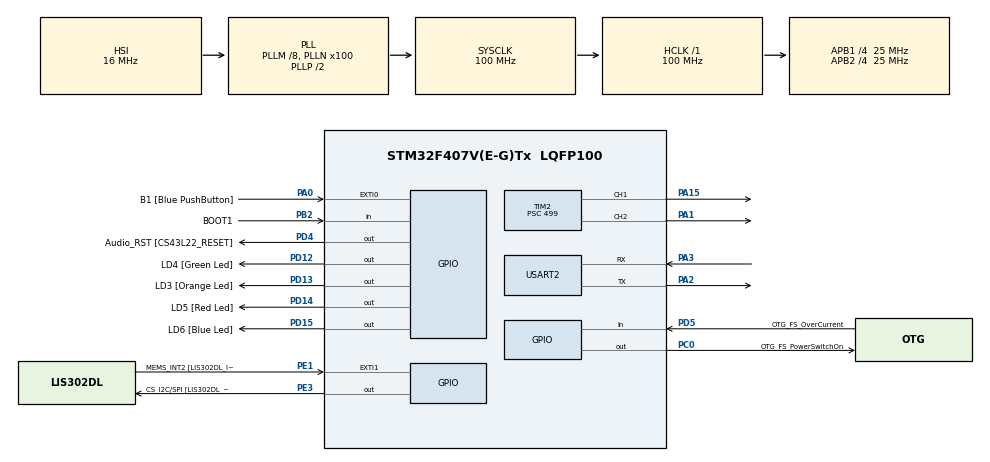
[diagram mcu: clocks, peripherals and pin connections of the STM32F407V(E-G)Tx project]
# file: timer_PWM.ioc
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Mcu.Family=STM32F4
Mcu.Name=STM32F407V(E-G)Tx
Mcu.Package=LQFP100
NVIC.PriorityGroup=NVIC_PRIORITYGROUP_0
NVIC.USART2_IRQn=true\:0\:0\:false\:false\:true\:true\:true\:true
PA0-WKUP.GPIO_Label=B1 [Blue PushButton]
PA0-WKUP.Signal=GPXTI0
PA1.Signal=S_TIM2_CH2
PA10.GPIO_Label=OTG_FS_ID
PA10.GPIO_Mode=GPIO_MODE_AF_PP
PA10.GPIO_PuPd=GPIO_NOPULL
PA10.GPIO_Speed=GPIO_SPEED_FREQ_LOW
PA10.Signal=USB_OTG_FS_ID
PA11.GPIO_Label=OTG_FS_DM
PA11.GPIO_Mode=GPIO_MODE_AF_PP
PA11.GPIO_PuPd=GPIO_NOPULL
PA11.GPIO_Speed=GPIO_SPEED_FREQ_LOW
PA11.Signal=USB_OTG_FS_DM
PA12.GPIO_Label=OTG_FS_DP
PA12.GPIO_Mode=GPIO_MODE_AF_PP
PA12.GPIO_PuPd=GPIO_NOPULL
PA12.GPIO_Speed=GPIO_SPEED_FREQ_LOW
PA12.Signal=USB_OTG_FS_DP
PA13.GPIO_Label=SWDIO
PA13.Signal=SYS_JTMS-SWDIO
PA14.GPIO_Label=SWCLK
PA14.Signal=SYS_JTCK-SWCLK
PA15.Signal=S_TIM2_CH1_ETR
PA2.Mode=Asynchronous
PA2.Signal=USART2_TX
PA3.Mode=Asynchronous
PA3.Signal=USART2_RX
PA4.GPIO_Label=I2S3_WS [CS43L22_LRCK]
PA4.GPIO_Mode=GPIO_MODE_AF_PP
PA4.GPIO_PuPd=GPIO_NOPULL
PA4.GPIO_Speed=GPIO_SPEED_FREQ_LOW
PA4.Signal=I2S3_WS
PA5.GPIO_Label=SPI1_SCK [LIS302DL_SCL/SPC]
PA5.GPIO_Mode=GPIO_MODE_AF_PP
PA5.GPIO_PuPd=GPIO_NOPULL
PA5.GPIO_Speed=GPIO_SPEED_FREQ_LOW
PA5.Signal=SPI1_SCK
PA6.GPIO_Label=SPI1_MISO [LIS302DL_SDO]
PA6.GPIO_Mode=GPIO_MODE_AF_PP
PA6.GPIO_PuPd=GPIO_NOPULL
PA6.GPIO_Speed=GPIO_SPEED_FREQ_LOW
PA6.Signal=SPI1_MISO
PA7.GPIO_Label=SPI1_MOSI [LIS302DL_SDA/SDI/SDO]
PA7.GPIO_Mode=GPIO_MODE_AF_PP
PA7.GPIO_PuPd=GPIO_NOPULL
PA7.GPIO_Speed=GPIO_SPEED_FREQ_LOW
PA7.Signal=SPI1_MOSI
PA9.GPIO_Label=VBUS_FS
PA9.GPIO_Mode=GPIO_MODE_INPUT
PA9.GPIO_PuPd=GPIO_NOPULL
PA9.Signal=USB_OTG_FS_VBUS
PB10.GPIO_Label=CLK_IN [MP45DT02_CLK]
PB10.GPIO_Mode=GPIO_MODE_AF_PP
PB10.GPIO_PuPd=GPIO_NOPULL
PB10.GPIO_Speed=GPIO_SPEED_FREQ_LOW
PB10.Signal=I2S2_CK
PB2.GPIO_Label=BOOT1
PB2.GPIO_Mode=GPIO_MODE_INPUT
PB2.GPIO_PuPd=GPIO_NOPULL
PB2.Signal=GPIO_Input
PB3.GPIO_Label=SWO
PB3.Signal=SYS_JTDO-SWO
PB6.GPIO_Label=Audio_SCL [CS43L22_SCL]
PB6.GPIO_Mode=GPIO_MODE_AF_OD
PB6.GPIO_PuPd=GPIO_NOPULL
PB6.GPIO_Speed=GPIO_SPEED_FREQ_LOW
PB6.Signal=I2C1_SCL
PB9.GPIO_Label=Audio_SDA [CS43L22_SDA]
PB9.GPIO_Mode=GPIO_MODE_AF_OD
PB9.GPIO_PuPd=GPIO_NOPULL
PB9.GPIO_Speed=GPIO_SPEED_FREQ_LOW
PB9.Signal=I2C1_SDA
PC0.GPIO_Label=OTG_FS_PowerSwitchOn
PC0.GPIO_PuPd=GPIO_NOPULL
PC0.GPIO_Speed=GPIO_SPEED_FREQ_LOW
PC0.PinState=GPIO_PIN_SET
PC0.Signal=GPIO_Output
PC10.GPIO_Label=I2S3_SCK [CS43L22_SCLK]
PC10.GPIO_Mode=GPIO_MODE_AF_PP
PC10.GPIO_PuPd=GPIO_NOPULL
PC10.GPIO_Speed=GPIO_SPEED_FREQ_LOW
PC10.Signal=I2S3_CK
PC12.GPIO_Label=I2S3_SD [CS43L22_SDIN]
PC12.GPIO_Mode=GPIO_MODE_AF_PP
PC12.GPIO_PuPd=GPIO_NOPULL
PC12.GPIO_Speed=GPIO_SPEED_FREQ_LOW
PC12.Signal=I2S3_SD
PC14-OSC32_IN.GPIO_Label=PC14-OSC32_IN
PC14-OSC32_IN.Signal=RCC_OSC32_IN
PC15-OSC32_OUT.GPIO_Label=PC15-OSC32_OUT
PC15-OSC32_OUT.Signal=RCC_OSC32_OUT
PC3.GPIO_Label=PDM_OUT [MP45DT02_DOUT]
PC3.GPIO_Mode=GPIO_MODE_AF_PP
PC3.GPIO_PuPd=GPIO_NOPULL
PC3.GPIO_Speed=GPIO_SPEED_FREQ_LOW
PC3.Signal=I2S2_SD
PC7.GPIO_Label=I2S3_MCK [CS43L22_MCLK]
PC7.GPIO_Mode=GPIO_MODE_AF_PP
PC7.GPIO_PuPd=GPIO_NOPULL
PC7.GPIO_Speed=GPIO_SPEED_FREQ_LOW
PC7.Signal=I2S3_MCK
PD12.GPIO_Label=LD4 [Green Led]
PD12.GPIO_PuPd=GPIO_NOPULL
PD12.GPIO_Speed=GPIO_SPEED_FREQ_LOW
PD12.Signal=GPIO_Output
PD13.GPIO_Label=LD3 [Orange Led]
PD13.GPIO_PuPd=GPIO_NOPULL
PD13.GPIO_Speed=GPIO_SPEED_FREQ_LOW
PD13.Signal=GPIO_Output
PD14.GPIO_Label=LD5 [Red Led]
PD14.GPIO_PuPd=GPIO_NOPULL
PD14.GPIO_Speed=GPIO_SPEED_FREQ_LOW
PD14.Signal=GPIO_Output
PD15.GPIO_Label=LD6 [Blue Led]
PD15.GPIO_PuPd=GPIO_NOPULL
PD15.GPIO_Speed=GPIO_SPEED_FREQ_LOW
PD15.Signal=GPIO_Output
PD4.GPIO_Label=Audio_RST [CS43L22_RESET]
PD4.GPIO_PuPd=GPIO_NOPULL
PD4.GPIO_Speed=GPIO_SPEED_FREQ_LOW
PD4.Signal=GPIO_Output
PD5.GPIO_Label=OTG_FS_OverCurrent
PD5.GPIO_Mode=GPIO_MODE_INPUT
PD5.GPIO_PuPd=GPIO_NOPULL
PD5.Signal=GPIO_Input
PE1.GPIO_Label=MEMS_INT2 [LIS302DL_INT2]
PE1.GPIO_ModeDefaultEXTI=GPIO_MODE_EVT_RISING
PE1.GPIO_PuPd=GPIO_NOPULL
PE1.Signal=GPXTI1
PE3.GPIO_Label=CS_I2C/SPI [LIS302DL_CS_I2C/SPI]
PE3.GPIO_PuPd=GPIO_NOPULL
PE3.GPIO_Speed=GPIO_SPEED_FREQ_LOW
PE3.Signal=GPIO_Output
PH0-OSC_IN.GPIO_Label=PH0-OSC_IN
PH0-OSC_IN.Signal=RCC_OSC_IN
PH1-OSC_OUT.GPIO_Label=PH1-OSC_OUT
PH1-OSC_OUT.Signal=RCC_OSC_OUT
ProjectManager.HeapSize=0x200
ProjectManager.StackSize=0x400
ProjectManager.TargetToolchain=STM32CubeIDE
RCC.48MHZClocksFreq_Value=28571428.57142857
RCC.AHBFreq_Value=100000000
RCC.APB1CLKDivider=RCC_HCLK_DIV4
RCC.APB1Freq_Value=25000000
RCC.APB1TimFreq_Value=50000000
RCC.APB2CLKDivider=RCC_HCLK_DIV4
RCC.APB2Freq_Value=25000000
RCC.APB2TimFreq_Value=50000000
RCC.CortexFreq_Value=100000000
RCC.HCLKFreq_Value=100000000
RCC.HSE_VALUE=8000000
RCC.HSI_VALUE=16000000
RCC.LSE_VALUE=32768
RCC.PLLM=8
RCC.PLLN=100
RCC.PLLQ=7
RCC.SYSCLKFreq_VALUE=100000000
RCC.SYSCLKSource=RCC_SYSCLKSOURCE_PLLCLK
RCC.VCOOutputFreq_Value=200000000
SH.S_TIM2_CH1_ETR.0=TIM2_CH1,PWM Generation1 CH1
SH.S_TIM2_CH2.0=TIM2_CH2,PWM Generation2 CH2
TIM2.Channel-PWM\ Generation1\ CH1=TIM_CHANNEL_1
TIM2.Channel-PWM\ Generation2\ CH2=TIM_CHANNEL_2
TIM2.Period=99999
TIM2.Prescaler=499
USART2.VirtualMode=VM_ASYNC
board=STM32F407G-DISC1

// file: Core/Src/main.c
/* USER CODE BEGIN Header */
/**
 ******************************************************************************
 * @file           : main.c
 * @brief          : Main program body
 ******************************************************************************
 * @attention
 *
 * Copyright (c) 2024 STMicroelectronics.
 * All rights reserved.
 *
 * This software is licensed under terms that can be found in the LICENSE file
 * in the root directory of this software component.
 * If no LICENSE file comes with this software, it is provided AS-IS.
 *
 ******************************************************************************
 */
/* USER CODE END Header */
#include "main.h"

/* USER CODE BEGIN Includes */
#include <string.h>
#include <stdio.h>
#include <stdarg.h>
#include <stdlib.h>
/* USER CODE END Includes */

TIM_HandleTypeDef htim2;

UART_HandleTypeDef huart2;

void SystemClock_Config(void);
static void MX_GPIO_Init(void);
static void MX_TIM2_Init(void);
static void MX_USART2_UART_Init(void);
/* USER CODE BEGIN PFP */
void logUART(const char *format, ...);
/* USER CODE END PFP */

/* USER CODE BEGIN 0 */
/**
 * Logging to UART to help debug.
 */
void logUART(const char *format, ...) {
	char usr_msg[100]; // Buffer for the formatted message
	va_list args;

	// Initialize the va_list variable with the last known fixed parameter (in this case, 'format')
	va_start(args, format);

	// Use vsnprintf to safely format the string into usr_msg
	// vsnprintf returns the number of characters that would have been written if usr_msg had been sufficiently large
	vsnprintf(usr_msg, sizeof(usr_msg), format, args);

	// Clean up the va_list when we're done with it
	va_end(args);

	// Transmit the formatted string via UART
	HAL_UART_Transmit(&huart2, (uint8_t*) usr_msg, strlen(usr_msg),
	HAL_MAX_DELAY);
}

/* USER CODE END 0 */

int main(void) {
	/* USER CODE BEGIN 1 */
	// This program will output wave form of various pulse width 25% and 75% from TIM2 ch1 and ch2.
	// Use logic analyzer to see the wave form produced in CH1 = GPIOA 15
	// and in CH1 = GPIOA Pin 1
	/* USER CODE END 1 */

	/* MCU Configuration--------------------------------------------------------*/

	/* Reset of all peripherals, Initializes the Flash interface and the Systick. */
	HAL_Init();

	/* Configure the system clock */
	SystemClock_Config();

	/* Initialize all configured peripherals */
	MX_GPIO_Init();
	MX_TIM2_Init();
	MX_USART2_UART_Init();
	/* USER CODE BEGIN 2 */
	if (HAL_TIM_Base_Start_IT(&htim2) != HAL_OK) {
		logUART("Error initializing Base!!\r\n");
		Error_Handler();
	}

	if (HAL_TIM_PWM_Start(&htim2, TIM_CHANNEL_1)) {
		logUART("Error initializing OC Ch1!!\r\n");
		Error_Handler();
	}

	if (HAL_TIM_PWM_Start(&htim2, TIM_CHANNEL_2)) {
		logUART("Error initializing OC Ch2!!\r\n");
		Error_Handler();
	}

	/* USER CODE END 2 */

	/* Infinite loop */
	while (1) {

	}
}

void SystemClock_Config(void) {
	RCC_OscInitTypeDef RCC_OscInitStruct = { 0 };
	RCC_ClkInitTypeDef RCC_ClkInitStruct = { 0 };

	/** Configure the main internal regulator output voltage
	 */
	__HAL_RCC_PWR_CLK_ENABLE();
	__HAL_PWR_VOLTAGESCALING_CONFIG(PWR_REGULATOR_VOLTAGE_SCALE1);

	/** Initializes the RCC Oscillators according to the specified parameters
	 * in the RCC_OscInitTypeDef structure.
	 */
	RCC_OscInitStruct.OscillatorType = RCC_OSCILLATORTYPE_HSI;
	RCC_OscInitStruct.HSIState = RCC_HSI_ON;
	RCC_OscInitStruct.HSICalibrationValue = RCC_HSICALIBRATION_DEFAULT;
	RCC_OscInitStruct.PLL.PLLState = RCC_PLL_ON;
	RCC_OscInitStruct.PLL.PLLSource = RCC_PLLSOURCE_HSI;
	RCC_OscInitStruct.PLL.PLLM = 8;
	RCC_OscInitStruct.PLL.PLLN = 100;
	RCC_OscInitStruct.PLL.PLLP = RCC_PLLP_DIV2;
	RCC_OscInitStruct.PLL.PLLQ = 7;
	if (HAL_RCC_OscConfig(&RCC_OscInitStruct) != HAL_OK) {
		Error_Handler();
	}

	/** Initializes the CPU, AHB and APB buses clocks
	 */
	RCC_ClkInitStruct.ClockType = RCC_CLOCKTYPE_HCLK | RCC_CLOCKTYPE_SYSCLK
			| RCC_CLOCKTYPE_PCLK1 | RCC_CLOCKTYPE_PCLK2;
	RCC_ClkInitStruct.SYSCLKSource = RCC_SYSCLKSOURCE_PLLCLK;
	RCC_ClkInitStruct.AHBCLKDivider = RCC_SYSCLK_DIV1;
	RCC_ClkInitStruct.APB1CLKDivider = RCC_HCLK_DIV4;
	RCC_ClkInitStruct.APB2CLKDivider = RCC_HCLK_DIV4;

	if (HAL_RCC_ClockConfig(&RCC_ClkInitStruct, FLASH_LATENCY_3) != HAL_OK) {
		Error_Handler();
	}
}

static void MX_TIM2_Init(void) {

	TIM_MasterConfigTypeDef sMasterConfig = { 0 };
	TIM_OC_InitTypeDef sConfigOC = { 0 };

	htim2.Instance = TIM2;
	htim2.Init.Prescaler = 499;
	htim2.Init.CounterMode = TIM_COUNTERMODE_UP;
	htim2.Init.Period = 99999;
	htim2.Init.ClockDivision = TIM_CLOCKDIVISION_DIV1;
	htim2.Init.AutoReloadPreload = TIM_AUTORELOAD_PRELOAD_DISABLE;
	if (HAL_TIM_PWM_Init(&htim2) != HAL_OK) {
		Error_Handler();
	}
	sMasterConfig.MasterOutputTrigger = TIM_TRGO_RESET;
	sMasterConfig.MasterSlaveMode = TIM_MASTERSLAVEMODE_DISABLE;
	if (HAL_TIMEx_MasterConfigSynchronization(&htim2, &sMasterConfig)
			!= HAL_OK) {
		Error_Handler();
	}
	sConfigOC.OCMode = TIM_OCMODE_PWM1;
	sConfigOC.Pulse = 0;
	sConfigOC.OCPolarity = TIM_OCPOLARITY_HIGH;
	sConfigOC.OCFastMode = TIM_OCFAST_DISABLE;
	if (HAL_TIM_PWM_ConfigChannel(&htim2, &sConfigOC, TIM_CHANNEL_1)
			!= HAL_OK) {
		Error_Handler();
	}
	if (HAL_TIM_PWM_ConfigChannel(&htim2, &sConfigOC, TIM_CHANNEL_2)
			!= HAL_OK) {
		Error_Handler();
	}
	/* USER CODE BEGIN TIM2_Init 2 */
	// Make pulse 25% of period for channel 1 output.
	sConfigOC.Pulse = (htim2.Init.Period * 25) / 100;
	if (HAL_TIM_PWM_ConfigChannel(&htim2, &sConfigOC, TIM_CHANNEL_1)
			!= HAL_OK) {
		Error_Handler();
	}
	// Make pulse 75% of period for channel 2 output.
	sConfigOC.Pulse = (htim2.Init.Period * 75) / 100;
	if (HAL_TIM_PWM_ConfigChannel(&htim2, &sConfigOC, TIM_CHANNEL_2)
			!= HAL_OK) {
		Error_Handler();
	}

	/* USER CODE END TIM2_Init 2 */
	HAL_TIM_MspPostInit(&htim2);

}

static void MX_USART2_UART_Init(void) {

	huart2.Instance = USART2;
	huart2.Init.BaudRate = 115200;
	huart2.Init.WordLength = UART_WORDLENGTH_8B;
	huart2.Init.StopBits = UART_STOPBITS_1;
	huart2.Init.Parity = UART_PARITY_NONE;
	huart2.Init.Mode = UART_MODE_TX_RX;
	huart2.Init.HwFlowCtl = UART_HWCONTROL_NONE;
	huart2.Init.OverSampling = UART_OVERSAMPLING_16;
	if (HAL_UART_Init(&huart2) != HAL_OK) {
		Error_Handler();
	}

}

static void MX_GPIO_Init(void) {
	GPIO_InitTypeDef GPIO_InitStruct = { 0 };

	/* GPIO Ports Clock Enable */
	__HAL_RCC_GPIOE_CLK_ENABLE();
	__HAL_RCC_GPIOC_CLK_ENABLE();
	__HAL_RCC_GPIOH_CLK_ENABLE();
	__HAL_RCC_GPIOA_CLK_ENABLE();
	__HAL_RCC_GPIOB_CLK_ENABLE();
	__HAL_RCC_GPIOD_CLK_ENABLE();

	/*Configure GPIO pin Output Level */
	HAL_GPIO_WritePin(CS_I2C_SPI_GPIO_Port, CS_I2C_SPI_Pin, GPIO_PIN_RESET);

	/*Configure GPIO pin Output Level */
	HAL_GPIO_WritePin(OTG_FS_PowerSwitchOn_GPIO_Port, OTG_FS_PowerSwitchOn_Pin,
			GPIO_PIN_SET);

	/*Configure GPIO pin Output Level */
	HAL_GPIO_WritePin(GPIOD,
			LD4_Pin | LD3_Pin | LD5_Pin | LD6_Pin | Audio_RST_Pin,
			GPIO_PIN_RESET);

	/*Configure GPIO pin : CS_I2C_SPI_Pin */
	GPIO_InitStruct.Pin = CS_I2C_SPI_Pin;
	GPIO_InitStruct.Mode = GPIO_MODE_OUTPUT_PP;
	GPIO_InitStruct.Pull = GPIO_NOPULL;
	GPIO_InitStruct.Speed = GPIO_SPEED_FREQ_LOW;
	HAL_GPIO_Init(CS_I2C_SPI_GPIO_Port, &GPIO_InitStruct);

	/*Configure GPIO pin : OTG_FS_PowerSwitchOn_Pin */
	GPIO_InitStruct.Pin = OTG_FS_PowerSwitchOn_Pin;
	GPIO_InitStruct.Mode = GPIO_MODE_OUTPUT_PP;
	GPIO_InitStruct.Pull = GPIO_NOPULL;
	GPIO_InitStruct.Speed = GPIO_SPEED_FREQ_LOW;
	HAL_GPIO_Init(OTG_FS_PowerSwitchOn_GPIO_Port, &GPIO_InitStruct);

	/*Configure GPIO pin : PDM_OUT_Pin */
	GPIO_InitStruct.Pin = PDM_OUT_Pin;
	GPIO_InitStruct.Mode = GPIO_MODE_AF_PP;
	GPIO_InitStruct.Pull = GPIO_NOPULL;
	GPIO_InitStruct.Speed = GPIO_SPEED_FREQ_LOW;
	GPIO_InitStruct.Alternate = GPIO_AF5_SPI2;
	HAL_GPIO_Init(PDM_OUT_GPIO_Port, &GPIO_InitStruct);

	/*Configure GPIO pin : B1_Pin */
	GPIO_InitStruct.Pin = B1_Pin;
	GPIO_InitStruct.Mode = GPIO_MODE_IT_RISING;
	GPIO_InitStruct.Pull = GPIO_NOPULL;
	HAL_GPIO_Init(B1_GPIO_Port, &GPIO_InitStruct);

	/*Configure GPIO pin : I2S3_WS_Pin */
	GPIO_InitStruct.Pin = I2S3_WS_Pin;
	GPIO_InitStruct.Mode = GPIO_MODE_AF_PP;
	GPIO_InitStruct.Pull = GPIO_NOPULL;
	GPIO_InitStruct.Speed = GPIO_SPEED_FREQ_LOW;
	GPIO_InitStruct.Alternate = GPIO_AF6_SPI3;
	HAL_GPIO_Init(I2S3_WS_GPIO_Port, &GPIO_InitStruct);

	/*Configure GPIO pins : SPI1_SCK_Pin SPI1_MISO_Pin SPI1_MOSI_Pin */
	GPIO_InitStruct.Pin = SPI1_SCK_Pin | SPI1_MISO_Pin | SPI1_MOSI_Pin;
	GPIO_InitStruct.Mode = GPIO_MODE_AF_PP;
	GPIO_InitStruct.Pull = GPIO_NOPULL;
	GPIO_InitStruct.Speed = GPIO_SPEED_FREQ_LOW;
	GPIO_InitStruct.Alternate = GPIO_AF5_SPI1;
	HAL_GPIO_Init(GPIOA, &GPIO_InitStruct);

	/*Configure GPIO pin : BOOT1_Pin */
	GPIO_InitStruct.Pin = BOOT1_Pin;
	GPIO_InitStruct.Mode = GPIO_MODE_INPUT;
	GPIO_InitStruct.Pull = GPIO_NOPULL;
	HAL_GPIO_Init(BOOT1_GPIO_Port, &GPIO_InitStruct);

	/*Configure GPIO pin : CLK_IN_Pin */
	GPIO_InitStruct.Pin = CLK_IN_Pin;
	GPIO_InitStruct.Mode = GPIO_MODE_AF_PP;
	GPIO_InitStruct.Pull = GPIO_NOPULL;
	GPIO_InitStruct.Speed = GPIO_SPEED_FREQ_LOW;
	GPIO_InitStruct.Alternate = GPIO_AF5_SPI2;
	HAL_GPIO_Init(CLK_IN_GPIO_Port, &GPIO_InitStruct);

	/*Configure GPIO pins : LD4_Pin LD3_Pin LD5_Pin LD6_Pin
	 Audio_RST_Pin */
	GPIO_InitStruct.Pin = LD4_Pin | LD3_Pin | LD5_Pin | LD6_Pin | Audio_RST_Pin;
	GPIO_InitStruct.Mode = GPIO_MODE_OUTPUT_PP;
	GPIO_InitStruct.Pull = GPIO_NOPULL;
	GPIO_InitStruct.Speed = GPIO_SPEED_FREQ_LOW;
	HAL_GPIO_Init(GPIOD, &GPIO_InitStruct);

	/*Configure GPIO pins : I2S3_MCK_Pin I2S3_SCK_Pin I2S3_SD_Pin */
	GPIO_InitStruct.Pin = I2S3_MCK_Pin | I2S3_SCK_Pin | I2S3_SD_Pin;
	GPIO_InitStruct.Mode = GPIO_MODE_AF_PP;
	GPIO_InitStruct.Pull = GPIO_NOPULL;
	GPIO_InitStruct.Speed = GPIO_SPEED_FREQ_LOW;
	GPIO_InitStruct.Alternate = GPIO_AF6_SPI3;
	HAL_GPIO_Init(GPIOC, &GPIO_InitStruct);

	/*Configure GPIO pin : VBUS_FS_Pin */
	GPIO_InitStruct.Pin = VBUS_FS_Pin;
	GPIO_InitStruct.Mode = GPIO_MODE_INPUT;
	GPIO_InitStruct.Pull = GPIO_NOPULL;
	HAL_GPIO_Init(VBUS_FS_GPIO_Port, &GPIO_InitStruct);

	/*Configure GPIO pins : OTG_FS_ID_Pin OTG_FS_DM_Pin OTG_FS_DP_Pin */
	GPIO_InitStruct.Pin = OTG_FS_ID_Pin | OTG_FS_DM_Pin | OTG_FS_DP_Pin;
	GPIO_InitStruct.Mode = GPIO_MODE_AF_PP;
	GPIO_InitStruct.Pull = GPIO_NOPULL;
	GPIO_InitStruct.Speed = GPIO_SPEED_FREQ_LOW;
	GPIO_InitStruct.Alternate = GPIO_AF10_OTG_FS;
	HAL_GPIO_Init(GPIOA, &GPIO_InitStruct);

	/*Configure GPIO pin : OTG_FS_OverCurrent_Pin */
	GPIO_InitStruct.Pin = OTG_FS_OverCurrent_Pin;
	GPIO_InitStruct.Mode = GPIO_MODE_INPUT;
	GPIO_InitStruct.Pull = GPIO_NOPULL;
	HAL_GPIO_Init(OTG_FS_OverCurrent_GPIO_Port, &GPIO_InitStruct);

	/*Configure GPIO pins : Audio_SCL_Pin Audio_SDA_Pin */
	GPIO_InitStruct.Pin = Audio_SCL_Pin | Audio_SDA_Pin;
	GPIO_InitStruct.Mode = GPIO_MODE_AF_OD;
	GPIO_InitStruct.Pull = GPIO_NOPULL;
	GPIO_InitStruct.Speed = GPIO_SPEED_FREQ_LOW;
	GPIO_InitStruct.Alternate = GPIO_AF4_I2C1;
	HAL_GPIO_Init(GPIOB, &GPIO_InitStruct);

	/*Configure GPIO pin : MEMS_INT2_Pin */
	GPIO_InitStruct.Pin = MEMS_INT2_Pin;
	GPIO_InitStruct.Mode = GPIO_MODE_EVT_RISING;
	GPIO_InitStruct.Pull = GPIO_NOPULL;
	HAL_GPIO_Init(MEMS_INT2_GPIO_Port, &GPIO_InitStruct);

}

void Error_Handler(void) {
	__disable_irq();
	while (1) {
	}
}
